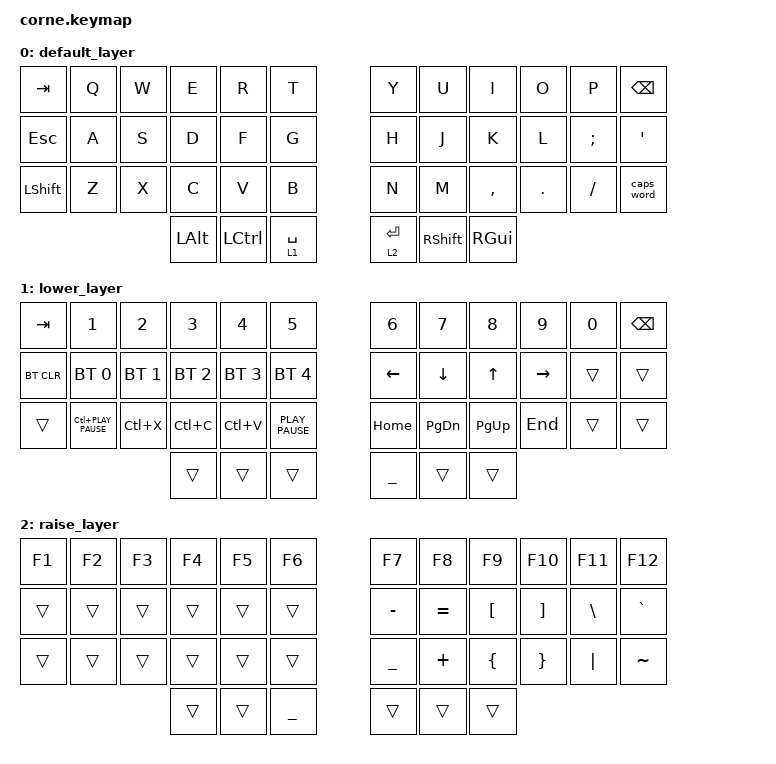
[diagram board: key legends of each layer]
/*
 * Copyright (c) 2020 The ZMK Contributors
 *
 * SPDX-License-Identifier: MIT
 */

#include <behaviors.dtsi>
#include <dt-bindings/zmk/bt.h>
#include <dt-bindings/zmk/keys.h>

/ {
    keymap {
        compatible = "zmk,keymap";

        default_layer {
            // -----------------------------------------------------------------------------------------
            // |  TAB |  Q  |  W  |  E  |  R  |  T  |   |  Y  |  U   |  I  |  O  |  P  | BKSP |
            // | CTRL |  A  |  S  |  D  |  F  |  G  |   |  H  |  J   |  K  |  L  |  ;  |  '   |
            // | SHFT |  Z  |  X  |  C  |  V  |  B  |   |  N  |  M   |  ,  |  .  |  /  | ESC  |
            //                    | GUI | LWR | SPC |   | ENT | RSE  | ALT |

            bindings = <
&kp TAB    &kp Q  &kp W  &kp E         &kp R      &kp T          &kp Y        &kp U            &kp I          &kp O    &kp P     &kp BSPC
&kp ESC    &kp A  &kp S  &kp D         &kp F      &kp G          &kp H        &kp J            &kp K          &kp L    &kp SEMI  &kp SQT
&kp LSHFT  &kp Z  &kp X  &kp C         &kp V      &kp B          &kp N        &kp M            &kp COMMA      &kp DOT  &kp FSLH  &caps_word
                         &kp LEFT_ALT  &kp LCTRL  &lt 1 SPACE    &lt 2 ENTER  &kp RIGHT_SHIFT  &kp RIGHT_GUI
            >;
        };

        lower_layer {
            // -----------------------------------------------------------------------------------------
            // |  TAB |  1  |  2  |  3  |  4  |  5  |   |  6  |  7  |  8  |  9  |  0  | BKSP |
            // | BTCLR| BT1 | BT2 | BT3 | BT4 | BT5 |   | LFT | DWN |  UP | RGT |     |      |
            // | SHFT |     |     |     |     |     |   |     |     |     |     |     |      |
            //                    | GUI |     | SPC |   | ENT |     | ALT |

            bindings = <
&kp TAB     &kp N1                &kp N2        &kp N3        &kp N4        &kp N5              &kp N6     &kp N7         &kp N8       &kp N9     &kp N0  &kp BSPC
&bt BT_CLR  &bt BT_SEL 0          &bt BT_SEL 1  &bt BT_SEL 2  &bt BT_SEL 3  &bt BT_SEL 4        &kp LEFT   &kp DOWN       &kp UP       &kp RIGHT  &trans  &trans
&trans      &kp LC(K_PLAY_PAUSE)  &kp LC(X)     &kp LC(C)     &kp LC(V)     &kp K_PLAY_PAUSE    &kp HOME   &kp PAGE_DOWN  &kp PAGE_UP  &kp END    &trans  &trans
                                                &trans        &trans        &trans              &kp UNDER  &trans         &trans
            >;
        };

        raise_layer {
            // -----------------------------------------------------------------------------------------
            // |  TAB |  !  |  @  |  #  |  $  |  %  |   |  ^  |  &  |  *  |  (  |  )  | BKSP |
            // | CTRL |     |     |     |     |     |   |  -  |  =  |  [  |  ]  |  \  |  `   |
            // | SHFT |     |     |     |     |     |   |  _  |  +  |  {  |  }  | "|" |  ~   |
            //                    | GUI |     | SPC |   | ENT |     | ALT |

            bindings = <
&kp F1  &kp F2  &kp F3  &kp F4  &kp F5  &kp F6       &kp F7     &kp F8     &kp F9    &kp F10   &kp F11   &kp F12
&trans  &trans  &trans  &trans  &trans  &trans       &kp MINUS  &kp EQUAL  &kp LBKT  &kp RBKT  &kp BSLH  &kp GRAVE
&trans  &trans  &trans  &trans  &trans  &trans       &kp UNDER  &kp PLUS   &kp LBRC  &kp RBRC  &kp PIPE  &kp TILDE
                        &trans  &trans  &kp UNDER    &trans     &trans     &trans
            >;
        };
    };
};
